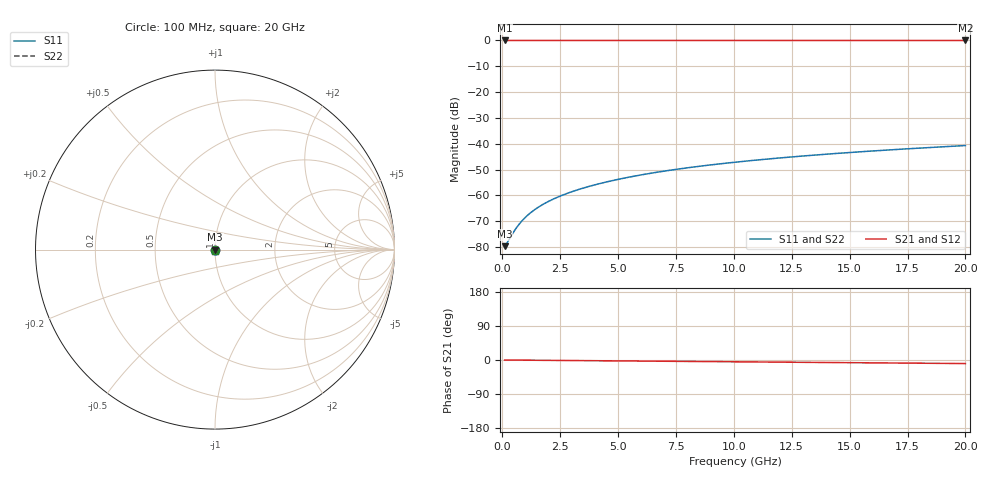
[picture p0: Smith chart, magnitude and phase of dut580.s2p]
! Touchstone file exported from HFSS 2026.1.0
!  File:  C:/ffzhzh/LocalFiles/Ansys_Project_Files/temp_train_TSV_580_1783024939_51716.aedt
!  Generated:  04:44:15 AM Jul  3, 2026
!  Design:  TSV
!  Project:  temp_train_TSV_580_1783024939_51716
! Variables:
!  h_bsmrdl = 2um
!  h_ox = 20um
!  h_rdl = 5um
!  h_sub = 95.69um
!  h_tmrdl = 5um
!  h_tsv = 95.69um
!  h_via = 3um
!  l_bsmrdl = 300um
!  l_sub = 425.12um
!  l_tmrdl = 200um
!  m_sub = 200um
!  pitch = 47.77um
!  r_tsv = 12.56um
!  s_tmrdl = 10um
!  w_bsmrdl = 18um
!  w_sub = 500um
!  w_tmrdl = 12um
!  x_tsv_center1 = 206um
!  x_tsv_center2 = 524um
!  x_tsv_center3 = 736um
!  x_tsv_center4 = 1054um
!  x_tsv_center5 = 1266um
!  x_tsv_center6 = 1584um
# GHz S MA R 50.000000
! Terminal data exported
! Port[1] = TSV1_1_T1
! Port[2] = TSV1_1_T2
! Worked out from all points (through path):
!   200 points, 100 MHz to 20 GHz, reference 50 ohm
!   highest |S21| = 0.00 dB at 100 MHz (marker M1); lowest = 0.0 dB at 20 GHz (marker M2)
!   group delay of S21, straight-line fit = 1.3 ps
!   lowest |S11| = -79.6 dB at 100 MHz (marker M3), VSWR 1.00, Z = 50 + j0.000311 ohm
!   |S11| at or under -10 dB: start of sweep to end of sweep
!   |S22| runs from -79.6 to -40.7 dB; largest |S21 - S12| = 4.1e-15
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0.1  0.0001044 1.7  0.9999 -0.0  0.9999 -0.0  0.0001044 1.7
! Gamma 0 0 0 0
! Port Impedance 50 0 50 0
0.2  0.0001195 1.1  0.9999 -0.1  0.9999 -0.1  0.0001195 1.1
0.5  0.0001998 -12.3  0.9998 -0.2  0.9998 -0.2  0.0001998 -12.3
0.7  0.0002678 -23.0  0.9998 -0.3  0.9998 -0.3  0.0002678 -23.0
0.8  0.0003039 -27.8  0.9997 -0.4  0.9997 -0.4  0.0003039 -27.8
1  0.0003783 -35.9  0.9997 -0.5  0.9997 -0.5  0.0003783 -35.9
1.3  0.0004932 -45.1  0.9996 -0.6  0.9996 -0.6  0.0004933 -45.1
1.5  0.0005713 -49.7  0.9996 -0.7  0.9996 -0.7  0.0005713 -49.7
1.7  0.0006502 -53.4  0.9996 -0.8  0.9996 -0.8  0.0006502 -53.4
2.2  0.0008505 -60.1  0.9996 -1.0  0.9996 -1.0  0.0008505 -60.1
2.8  0.001097 -65.2  0.9995 -1.3  0.9995 -1.3  0.001097 -65.2
3.5  0.001392 -69.1  0.9995 -1.7  0.9995 -1.7  0.001392 -69.1
4.2  0.001695 -71.9  0.9994 -2.0  0.9994 -2.0  0.001695 -71.9
5  0.00205 -74.2  0.9994 -2.4  0.9994 -2.4  0.00205 -74.2
5.9  0.002458 -76.3  0.9993 -2.8  0.9993 -2.8  0.002458 -76.3
6.8  0.002873 -78.1  0.9992 -3.2  0.9992 -3.2  0.002873 -78.1
8.3  0.003574 -80.5  0.9992 -3.9  0.9992 -3.9  0.003574 -80.5
10.1  0.004426 -82.8  0.9991 -4.7  0.9991 -4.7  0.004426 -82.8
11.7  0.00519 -84.6  0.999 -5.5  0.999 -5.5  0.00519 -84.6
13.4  0.006006 -86.3  0.9989 -6.3  0.9989 -6.3  0.006007 -86.3
16.7  0.007609 -89.0  0.9988 -7.8  0.9988 -7.8  0.007609 -89.0
20  0.009241 -91.4  0.9987 -9.4  0.9987 -9.4  0.009241 -91.4
